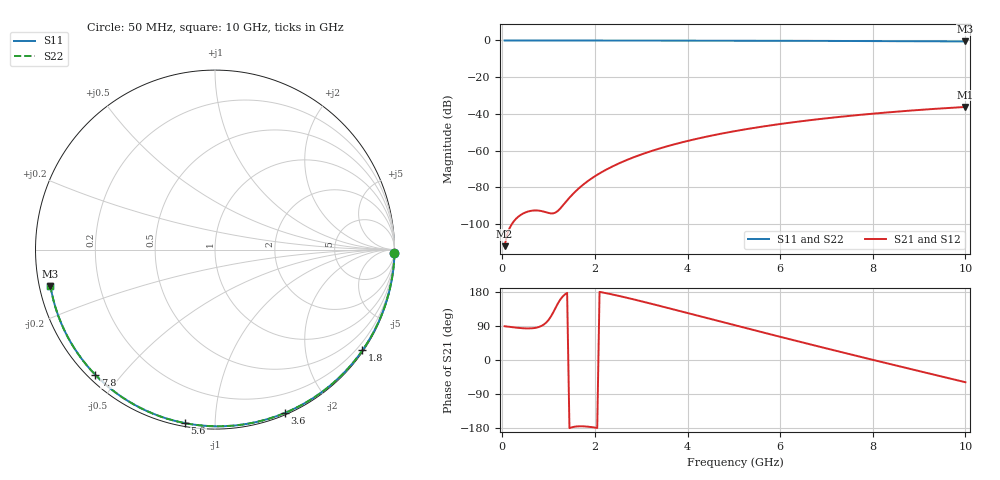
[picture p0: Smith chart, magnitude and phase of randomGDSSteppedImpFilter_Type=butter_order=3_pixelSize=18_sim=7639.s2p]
! freq	dB(S11)	phase(S11)	dB(S12)	phase(S12)
!  dB(S21)	phase(S21)	dB(S22)	phase(S22)
!S-par simulation data
#  GHz  S  DB  R 50
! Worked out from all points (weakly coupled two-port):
!   200 points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, 50 MHz to 10 GHz, reference 50 ohm
!   highest |S21| = -36.24 dB at 10 GHz (marker M1); lowest = -112.1 dB at 50 MHz (marker M2)
!   lowest |S11| = -0.5 dB at 10 GHz (marker M3), VSWR 31.82, Z = 1.59 - j5.46 ohm
!   |S11| at or under -10 dB: nowhere
!   |S22| runs from -0.5 to 0.0 dB; largest |S21 - S12| = 0
!   S11 on the Smith chart (normalised r, x): 50 MHz: open; 1.8 GHz: 0.03, -3.23; 3.6 GHz: 0.02, -1.52; 5.6 GHz: 0.02, -0.84; 7.8 GHz: 0.02, -0.43; 10 GHz: 0.03, -0.11
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0.05  -0.00 -1.0  -112.10 89.2  -112.10 89.2  -0.00 -1.0
0.45  -0.01 -8.7  -94.30 83.8  -94.30 83.8  -0.01 -8.7
0.85  -0.02 -16.4  -92.99 90.2  -92.99 90.2  -0.02 -16.4
1.65  -0.04 -31.6  -80.64 -175.0  -80.64 -175.0  -0.04 -31.6
1.7  -0.04 -32.5  -79.54 -174.9  -79.54 -174.9  -0.04 -32.5
1.75  -0.04 -33.4  -78.51 -175.0  -78.51 -175.0  -0.04 -33.4
1.8  -0.04 -34.4  -77.52 -175.4  -77.52 -175.4  -0.04 -34.4
2.1  -0.05 -39.9  -72.44 179.7  -72.44 179.7  -0.05 -39.9
2.3  -0.06 -43.6  -69.66 174.9  -69.66 174.9  -0.06 -43.6
2.5  -0.06 -47.2  -67.21 169.6  -67.21 169.6  -0.06 -47.2
2.9  -0.07 -54.4  -63.05 158.1  -63.05 158.1  -0.07 -54.4
3.4  -0.08 -63.3  -58.85 142.8  -58.85 142.8  -0.08 -63.3
3.6  -0.09 -66.7  -57.39 136.6  -57.39 136.6  -0.09 -66.7
4.3  -0.11 -78.7  -53.02 114.5  -53.02 114.5  -0.11 -78.7
5.05  -0.14 -91.0  -49.29 90.9  -49.29 90.9  -0.14 -91.0
5.6  -0.16 -99.8  -47.00 73.6  -47.00 73.6  -0.16 -99.8
6.15  -0.19 -108.5  -45.01 56.6  -45.01 56.6  -0.19 -108.5
6.7  -0.23 -117.0  -43.27 39.7  -43.27 39.7  -0.23 -117.0
7.8  -0.31 -133.7  -40.36 6.4  -40.36 6.4  -0.31 -133.7
8.35  -0.36 -142.0  -39.14 -10.0  -39.14 -10.0  -0.36 -142.0
9.2  -0.45 -155.0  -37.51 -35.1  -37.51 -35.1  -0.45 -155.0
10  -0.55 -167.5  -36.24 -58.6  -36.24 -58.6  -0.55 -167.5
